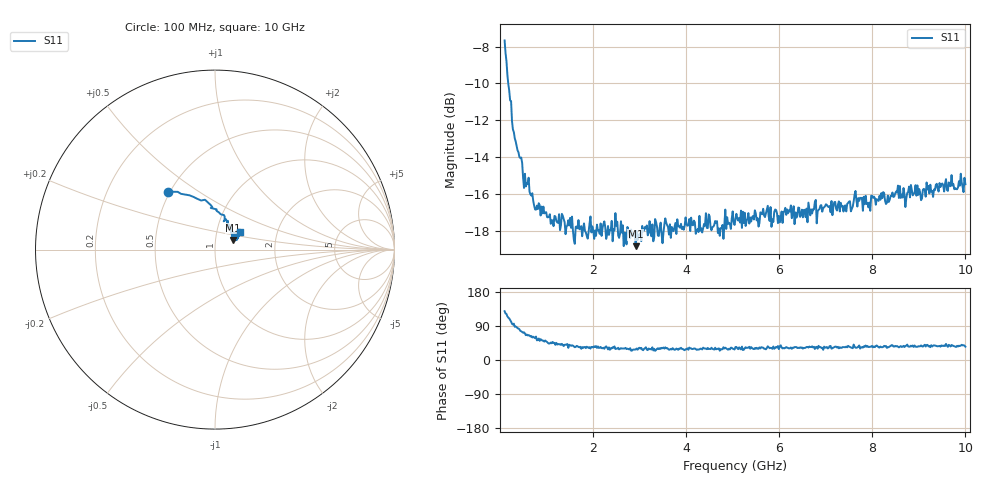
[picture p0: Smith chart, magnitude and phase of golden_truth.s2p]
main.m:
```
%% Inverse Problem Master Controller (Hybrid Mode)
clear; clc; close all; % Absolute reset to prevent data "bleeding"

% 1. Project Directory Check & Path Linking
addpath(fullfile(pwd, 'generators'));
addpath(fullfile(pwd, 'solvers'));

if ~exist('data', 'dir'), mkdir('data'); end
if ~exist('output', 'dir'), mkdir('output'); end

% --- CONFIGURATION ---
% Set to 'golden' for the Multipole Skin Model (image_628a1c.png style)
% Set to 'physical_foster' for pure RLC extraction from synthetic models
RUN_MODE = 'physical_foster'; 

switch RUN_MODE
    case 'physical_foster'
        fprintf('--- RUNNING PHYSICAL FOSTER CASE: RLC Ladder Synthesis ---\n');
        target_file = generate_synthetic_multipole('golden_truth.s2p');
        solve_inverse_physical(target_file, 'physical_rlc_model');
        
    case 'golden'
        fprintf('--- RUNNING GOLDEN CASE: Multipole Skin Model ---\n');
        % Use your existing generator script
        target_file = generate_synthetic_multipole('golden_truth.s2p');
        
        % Run the solver to verify the fit and plots
        solve_inverse_passive(target_file, 'golden_skin_model');
        
    case 'data'
        fprintf('--- RUNNING LABORATORY DATA MODE ---\n');
        % Point to the recorded lab file
        target_file = 'data/ring_slot.s2p'; 
        
        if ~exist(target_file, 'file')
            error('Lab file not found: %s. Check your /data folder.', target_file);
        end
        
        % Run solver on the recorded data
        solve_inverse_passive(target_file, 'lab_measurement_model');
end
```
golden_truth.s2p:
# GHz S RI R 50
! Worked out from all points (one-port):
!   500 points, 100 MHz to 10 GHz, reference 50 ohm
!   lowest |S11| = -18.8 dB at 2.917 GHz (marker M1), VSWR 1.26, Z = 60.8 + j6.6 ohm
!   |S11| at or under -10 dB: 178.1 MHz to end of sweep
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0.1  -0.2592 0.3225
0.2190381  -0.0774 0.2735
0.2983968  -0.0235 0.232
0.5364729  0.0613 0.169
0.7745491  0.0678 0.1266
1.607816  0.0964 0.0645
2.480762  0.1229 0.0682
2.917234  0.101 0.0535
3.413226  0.1068 0.0586
4.464729  0.1086 0.0678
4.762325  0.1131 0.06
5.04008  0.1157 0.0605
6.706613  0.1134 0.0825
10  0.1378 0.0968
